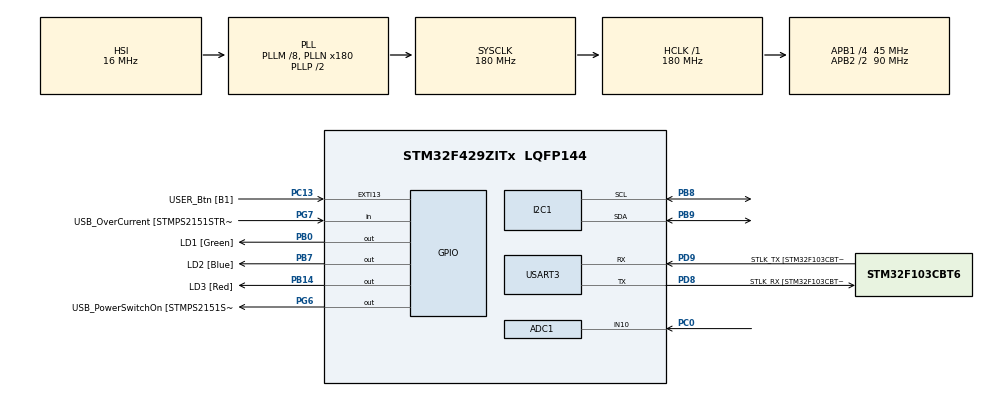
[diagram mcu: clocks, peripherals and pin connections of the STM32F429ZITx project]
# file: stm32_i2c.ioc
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ADC1.Channel-0\#ChannelRegularConversion=ADC_CHANNEL_10
ADC1.NbrOfConversionFlag=1
ADC1.Rank-0\#ChannelRegularConversion=1
ADC1.SamplingTime-0\#ChannelRegularConversion=ADC_SAMPLETIME_3CYCLES
ADC1.master=1
Mcu.Family=STM32F4
Mcu.Name=STM32F429ZITx
Mcu.Package=LQFP144
NVIC.ADC_IRQn=true\:0\:0\:false\:true\:true\:2\:true\:true\:true
NVIC.EXTI15_10_IRQn=true\:0\:0\:false\:true\:true\:3\:true\:true\:true
NVIC.PriorityGroup=NVIC_PRIORITYGROUP_4
NVIC.USART3_IRQn=true\:0\:0\:false\:true\:true\:1\:true\:true\:true
PA1.GPIO_Label=RMII_REF_CLK [LAN8742A-CZ-TR_REFCLK0]
PA1.Signal=ETH_REF_CLK
PA10.GPIO_Label=USB_ID
PA10.Signal=USB_OTG_FS_ID
PA11.GPIO_Label=USB_DM
PA11.Signal=USB_OTG_FS_DM
PA12.GPIO_Label=USB_DP
PA12.Signal=USB_OTG_FS_DP
PA13.GPIO_Label=TMS
PA13.Mode=Serial_Wire
PA13.Signal=SYS_JTMS-SWDIO
PA14.GPIO_Label=TCK
PA14.Mode=Serial_Wire
PA14.Signal=SYS_JTCK-SWCLK
PA2.GPIO_Label=RMII_MDIO [LAN8742A-CZ-TR_MDIO]
PA2.Signal=ETH_MDIO
PA7.GPIO_Label=RMII_CRS_DV [LAN8742A-CZ-TR_CRS_DV]
PA7.Signal=ETH_CRS_DV
PA8.GPIO_Label=USB_SOF [TP1]
PA8.Signal=USB_OTG_FS_SOF
PA9.GPIO_Label=USB_VBUS
PA9.Signal=USB_OTG_FS_VBUS
PB0.GPIO_Label=LD1 [Green]
PB0.Signal=GPIO_Output
PB13.GPIO_Label=RMII_TXD1 [LAN8742A-CZ-TR_TXD1]
PB13.Signal=ETH_TXD1
PB14.GPIO_Label=LD3 [Red]
PB14.Signal=GPIO_Output
PB7.GPIO_Label=LD2 [Blue]
PB7.Signal=GPIO_Output
PB8.Mode=I2C
PB8.Signal=I2C1_SCL
PB9.Mode=I2C
PB9.Signal=I2C1_SDA
PC0.Signal=ADCx_IN10
PC1.GPIO_Label=RMII_MDC [LAN8742A-CZ-TR_MDC]
PC1.Signal=ETH_MDC
PC13.GPIO_Label=USER_Btn [B1]
PC13.Signal=GPXTI13
PC14/OSC32_IN.Mode=LSE-External-Oscillator
PC14/OSC32_IN.Signal=RCC_OSC32_IN
PC15/OSC32_OUT.Mode=LSE-External-Oscillator
PC15/OSC32_OUT.Signal=RCC_OSC32_OUT
PC4.GPIO_Label=RMII_RXD0 [LAN8742A-CZ-TR_RXD0]
PC4.Signal=ETH_RXD0
PC5.GPIO_Label=RMII_RXD1 [LAN8742A-CZ-TR_RXD1]
PC5.Signal=ETH_RXD1
PD8.GPIO_Label=STLK_RX [STM32F103CBT6_PA3]
PD8.Mode=Asynchronous
PD8.Signal=USART3_TX
PD9.GPIO_Label=STLK_TX [STM32F103CBT6_PA2]
PD9.Mode=Asynchronous
PD9.Signal=USART3_RX
PG11.GPIO_Label=RMII_TX_EN [LAN8742A-CZ-TR_TXEN]
PG11.Signal=ETH_TX_EN
PG13.GPIO_Label=RMII_TXD0 [LAN8742A-CZ-TR_TXD0]
PG13.Signal=ETH_TXD0
PG6.GPIO_Label=USB_PowerSwitchOn [STMPS2151STR_EN]
PG6.Signal=GPIO_Output
PG7.GPIO_Label=USB_OverCurrent [STMPS2151STR_FAULT]
PG7.Signal=GPIO_Input
PH0/OSC_IN.GPIO_Label=MCO [STM32F103CBT6_PA8]
PH0/OSC_IN.Signal=RCC_OSC_IN
ProjectManager.HeapSize=0x200
ProjectManager.StackSize=0x400
ProjectManager.TargetToolchain=STM32CubeIDE
RCC.48MHZClocksFreq_Value=51428571.428571425
RCC.AHBFreq_Value=180000000
RCC.APB1CLKDivider=RCC_HCLK_DIV4
RCC.APB1Freq_Value=45000000
RCC.APB1TimFreq_Value=90000000
RCC.APB2CLKDivider=RCC_HCLK_DIV2
RCC.APB2Freq_Value=90000000
RCC.APB2TimCLKDivider=2
RCC.APB2TimFreq_Value=180000000
RCC.CortexFreq_Value=180000000
RCC.HCLKFreq_Value=180000000
RCC.HSE_VALUE=8000000
RCC.HSI_VALUE=16000000
RCC.PLLM=8
RCC.PLLMUL=RCC_PLL_MUL9
RCC.PLLN=180
RCC.PLLQ=7
RCC.PRESCALERUSB=RCC_USBCLKSOURCE_PLL_DIV1_5
RCC.RCC_RTC_Clock_Source=RCC_RTCCLKSOURCE_LSE
RCC.RCC_RTC_Clock_SourceVirtual=RCC_RTCCLKSOURCE_LSE
RCC.SYSCLKFreq_VALUE=180000000
RCC.SYSCLKSource=RCC_SYSCLKSOURCE_PLLCLK
RCC.SYSCLKSourceVirtual=RCC_SYSCLKSOURCE_PLLCLK
RCC.USBFreq_Value=48000000
RCC.VCOOutputFreq_Value=360000000
SH.ADCx_IN10.0=ADC1_IN10,IN10
USART3.VirtualMode=VM_ASYNC
VP_RTC_VS_RTC_Activate.Mode=RTC_Enabled
board=NUCLEO-F429ZI

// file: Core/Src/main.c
/* USER CODE BEGIN Header */
/**
  ******************************************************************************
  * @file           : main.c
  * @brief          : Main program body
  ******************************************************************************
  * @attention
  *
  * <h2><center>&copy; Copyright (c) 2020 STMicroelectronics.
  * All rights reserved.</center></h2>
  *
  * This software component is licensed by ST under BSD 3-Clause license,
  * the "License"; You may not use this file except in compliance with the
  * License. You may obtain a copy of the License at:
  *                        opensource.org/licenses/BSD-3-Clause
  *
  ******************************************************************************
  */
/* USER CODE END Header */

#include "main.h"

/* USER CODE BEGIN Includes */
#include "stdio.h"
#include "string.h"
/* USER CODE END Includes */

ADC_HandleTypeDef hadc1;

I2C_HandleTypeDef hi2c1;

RTC_HandleTypeDef hrtc;

UART_HandleTypeDef huart3;

void SystemClock_Config(void);
static void MX_GPIO_Init(void);
static void MX_USART3_UART_Init(void);
static void MX_I2C1_Init(void);
static void MX_RTC_Init(void);
static void MX_ADC1_Init(void);
static void MX_NVIC_Init(void);

/* USER CODE BEGIN 0 */
extern void I2C_Scan(void);

//void init();

//scanf를 사용하기 위해 _read재정의
int _read(int file, char *ptr, int len)
{
	HAL_UART_Receive(&huart3, (unsigned char*)ptr, len, HAL_MAX_DELAY);
	return len;
}
int __io_getchar(void)
{
	uint8_t ch = 0;
	HAL_UART_Receive(&huart3, (uint8_t *)&ch, 1, HAL_MAX_DELAY);
	return ch;
}
//printf를 사용하기 위해 _write() 함수를 재정의함.
int _write(int file, char *ptr, int len)
{
	HAL_UART_Transmit(&huart3, (uint8_t *)ptr, len, 500); //문자열을 보내는 것. 문자열의 주소를 받아서 문자열의 길이까지 같이 들어옴.

	return len;
}
int __io_putchar(int ch)
{
	HAL_UART_Transmit(&huart3, (uint8_t *)&ch, 1, 1000); //문자 하나를 보내는 것.
	return ch;
}

//버튼 눌림에 따른 상태변환 변수
int userBtnState = 0;
char BtnStringON[30] = "Btn state : ON  ";
char BtnStringOFF[30] = "Btn state : OFF  ";

//UART통신을 이용해 출력할 문자열 버퍼
char inputString;
char receivedData[100]; // 입력된 문자열을 저장할 버퍼
char lcdPrint[100]; //LCD에 출력할 문자열 버퍼
volatile uint8_t receivedIndex = 0; // 버퍼의 인덱스 변수
/* USER CODE END 0 */

int main(void)
{
  /* USER CODE BEGIN 1 */
  HAL_StatusTypeDef res;
  /* USER CODE END 1 */

  /* MCU Configuration--------------------------------------------------------*/

  /* Reset of all peripherals, Initializes the Flash interface and the Systick. */
  HAL_Init();

  /* USER CODE BEGIN Init */
  //인터럽트를 쓰기위해 enable을 해주는 과정
  HAL_UART_Receive_IT(&huart3, (uint8_t *)&inputString, 1);
  /* USER CODE END Init */

  /* Configure the system clock */
  SystemClock_Config();

  /* Initialize all configured peripherals */
  MX_GPIO_Init();
  MX_USART3_UART_Init();
  MX_I2C1_Init();
  MX_RTC_Init();
  MX_ADC1_Init();

  /* Initialize interrupts */
  MX_NVIC_Init();
  /* USER CODE BEGIN 2 */
  init();

  /* USER CODE END 2 */

  /* Infinite loop */
  while (1)
  {

    /* USER CODE BEGIN 3 */
	  //1. ADC 읽고 값을 출력
//	  HAL_ADC_Start_IT(&hadc1);
//	  sprintf(ADCstring, "ADC value : %04d", adc_value); //ADCstring배열에 두번째 인자와 세번째 인자를 합쳐서 넣어주는 함수.
	  //2. GPOI를 읽고 값에따라 on/off로 출력
	  //=> 외부 인터럽트로 상태값에 따라 다르게 출력하도록 함.
	  //최종적으로 LDC에 출력
	  //1-Line - ADC 값 출력
//		// set address to 0x00 첫번째줄 0번부터 글을 쓴다
//		LCD_SendCommand((0x27 << 1), 0b10000000); //0x00
//		LCD_SendString((0x27 << 1), ADCstring);
//
//	  //2-Line - GPIO 값 출력.
//		// set address to 0x40 두번째줄 0번째부터 글을 쓴다.

//		LCD_SendCommand((0x27 << 1), 0b11000000); //0x40
//		if(userBtnState == 1) {
//			LCD_SendString((0x27 << 1), BtnStringON);
//		}
//		else
//		{
//			LCD_SendString((0x27 << 1), BtnStringOFF);
//		}

		//3. UART통신을 통해 입력한 문자열을 LCD에 출력하기
//	  	LCD_SendCommand((0x27 << 1), 0b00000001); //lcd 화면초기화 명령
		LCD_SendCommand((0x27 << 1), 0b10000000); //0x00
		LCD_SendString((0x27 << 1), lcdPrint);

  }
  /* USER CODE END 3 */
}

void SystemClock_Config(void)
{
  RCC_OscInitTypeDef RCC_OscInitStruct = {0};
  RCC_ClkInitTypeDef RCC_ClkInitStruct = {0};
  RCC_PeriphCLKInitTypeDef PeriphClkInitStruct = {0};

  /** Configure the main internal regulator output voltage
  */
  __HAL_RCC_PWR_CLK_ENABLE();
  __HAL_PWR_VOLTAGESCALING_CONFIG(PWR_REGULATOR_VOLTAGE_SCALE1);
  /** Initializes the CPU, AHB and APB busses clocks
  */
  RCC_OscInitStruct.OscillatorType = RCC_OSCILLATORTYPE_HSI|RCC_OSCILLATORTYPE_LSE;
  RCC_OscInitStruct.LSEState = RCC_LSE_ON;
  RCC_OscInitStruct.HSIState = RCC_HSI_ON;
  RCC_OscInitStruct.HSICalibrationValue = RCC_HSICALIBRATION_DEFAULT;
  RCC_OscInitStruct.PLL.PLLState = RCC_PLL_ON;
  RCC_OscInitStruct.PLL.PLLSource = RCC_PLLSOURCE_HSI;
  RCC_OscInitStruct.PLL.PLLM = 8;
  RCC_OscInitStruct.PLL.PLLN = 180;
  RCC_OscInitStruct.PLL.PLLP = RCC_PLLP_DIV2;
  RCC_OscInitStruct.PLL.PLLQ = 7;
  if (HAL_RCC_OscConfig(&RCC_OscInitStruct) != HAL_OK)
  {
    Error_Handler();
  }
  /** Activate the Over-Drive mode
  */
  if (HAL_PWREx_EnableOverDrive() != HAL_OK)
  {
    Error_Handler();
  }
  /** Initializes the CPU, AHB and APB busses clocks
  */
  RCC_ClkInitStruct.ClockType = RCC_CLOCKTYPE_HCLK|RCC_CLOCKTYPE_SYSCLK
                              |RCC_CLOCKTYPE_PCLK1|RCC_CLOCKTYPE_PCLK2;
  RCC_ClkInitStruct.SYSCLKSource = RCC_SYSCLKSOURCE_PLLCLK;
  RCC_ClkInitStruct.AHBCLKDivider = RCC_SYSCLK_DIV1;
  RCC_ClkInitStruct.APB1CLKDivider = RCC_HCLK_DIV4;
  RCC_ClkInitStruct.APB2CLKDivider = RCC_HCLK_DIV2;

  if (HAL_RCC_ClockConfig(&RCC_ClkInitStruct, FLASH_LATENCY_5) != HAL_OK)
  {
    Error_Handler();
  }
  PeriphClkInitStruct.PeriphClockSelection = RCC_PERIPHCLK_RTC;
  PeriphClkInitStruct.RTCClockSelection = RCC_RTCCLKSOURCE_LSE;
  if (HAL_RCCEx_PeriphCLKConfig(&PeriphClkInitStruct) != HAL_OK)
  {
    Error_Handler();
  }
}

/**
  * @brief NVIC Configuration.
  * @retval None
  */
static void MX_NVIC_Init(void)
{
  /* USART3_IRQn interrupt configuration */
  HAL_NVIC_SetPriority(USART3_IRQn, 0, 0);
  HAL_NVIC_EnableIRQ(USART3_IRQn);
  /* ADC_IRQn interrupt configuration */
  HAL_NVIC_SetPriority(ADC_IRQn, 0, 0);
  HAL_NVIC_EnableIRQ(ADC_IRQn);
  /* EXTI15_10_IRQn interrupt configuration */
  HAL_NVIC_SetPriority(EXTI15_10_IRQn, 0, 0);
  HAL_NVIC_EnableIRQ(EXTI15_10_IRQn);
}

static void MX_ADC1_Init(void)
{

  ADC_ChannelConfTypeDef sConfig = {0};

  /** Configure the global features of the ADC (Clock, Resolution, Data Alignment and number of conversion)
  */
  hadc1.Instance = ADC1;
  hadc1.Init.ClockPrescaler = ADC_CLOCK_SYNC_PCLK_DIV4;
  hadc1.Init.Resolution = ADC_RESOLUTION_12B;
  hadc1.Init.ScanConvMode = DISABLE;
  hadc1.Init.ContinuousConvMode = DISABLE;
  hadc1.Init.DiscontinuousConvMode = DISABLE;
  hadc1.Init.ExternalTrigConvEdge = ADC_EXTERNALTRIGCONVEDGE_NONE;
  hadc1.Init.ExternalTrigConv = ADC_SOFTWARE_START;
  hadc1.Init.DataAlign = ADC_DATAALIGN_RIGHT;
  hadc1.Init.NbrOfConversion = 1;
  hadc1.Init.DMAContinuousRequests = DISABLE;
  hadc1.Init.EOCSelection = ADC_EOC_SINGLE_CONV;
  if (HAL_ADC_Init(&hadc1) != HAL_OK)
  {
    Error_Handler();
  }
  /** Configure for the selected ADC regular channel its corresponding rank in the sequencer and its sample time.
  */
  sConfig.Channel = ADC_CHANNEL_10;
  sConfig.Rank = 1;
  sConfig.SamplingTime = ADC_SAMPLETIME_3CYCLES;
  if (HAL_ADC_ConfigChannel(&hadc1, &sConfig) != HAL_OK)
  {
    Error_Handler();
  }

}

static void MX_I2C1_Init(void)
{

  hi2c1.Instance = I2C1;
  hi2c1.Init.ClockSpeed = 100000;
  hi2c1.Init.DutyCycle = I2C_DUTYCYCLE_2;
  hi2c1.Init.OwnAddress1 = 0;
  hi2c1.Init.AddressingMode = I2C_ADDRESSINGMODE_7BIT;
  hi2c1.Init.DualAddressMode = I2C_DUALADDRESS_DISABLE;
  hi2c1.Init.OwnAddress2 = 0;
  hi2c1.Init.GeneralCallMode = I2C_GENERALCALL_DISABLE;
  hi2c1.Init.NoStretchMode = I2C_NOSTRETCH_DISABLE;
  if (HAL_I2C_Init(&hi2c1) != HAL_OK)
  {
    Error_Handler();
  }
  /** Configure Analogue filter
  */
  if (HAL_I2CEx_ConfigAnalogFilter(&hi2c1, I2C_ANALOGFILTER_ENABLE) != HAL_OK)
  {
    Error_Handler();
  }
  /** Configure Digital filter
  */
  if (HAL_I2CEx_ConfigDigitalFilter(&hi2c1, 0) != HAL_OK)
  {
    Error_Handler();
  }

}

static void MX_RTC_Init(void)
{

  /** Initialize RTC Only
  */
  hrtc.Instance = RTC;
  hrtc.Init.HourFormat = RTC_HOURFORMAT_24;
  hrtc.Init.AsynchPrediv = 127;
  hrtc.Init.SynchPrediv = 255;
  hrtc.Init.OutPut = RTC_OUTPUT_DISABLE;
  hrtc.Init.OutPutPolarity = RTC_OUTPUT_POLARITY_HIGH;
  hrtc.Init.OutPutType = RTC_OUTPUT_TYPE_OPENDRAIN;
  if (HAL_RTC_Init(&hrtc) != HAL_OK)
  {
    Error_Handler();
  }

}

static void MX_USART3_UART_Init(void)
{

  huart3.Instance = USART3;
  huart3.Init.BaudRate = 115200;
  huart3.Init.WordLength = UART_WORDLENGTH_8B;
  huart3.Init.StopBits = UART_STOPBITS_1;
  huart3.Init.Parity = UART_PARITY_NONE;
  huart3.Init.Mode = UART_MODE_TX_RX; //송수신 모드
  huart3.Init.HwFlowCtl = UART_HWCONTROL_NONE;
  huart3.Init.OverSampling = UART_OVERSAMPLING_16;
  if (HAL_UART_Init(&huart3) != HAL_OK)
  {
    Error_Handler();
  }
  /* USER CODE BEGIN USART3_Init 2 */
  //수신 인터럽트 활성화
  HAL_UART_Receive_IT(&huart3, (uint8_t *)&inputString, 1);

  /* USER CODE END USART3_Init 2 */

}

static void MX_GPIO_Init(void)
{
  GPIO_InitTypeDef GPIO_InitStruct = {0};

  /* GPIO Ports Clock Enable */
  __HAL_RCC_GPIOC_CLK_ENABLE();
  __HAL_RCC_GPIOH_CLK_ENABLE();
  __HAL_RCC_GPIOA_CLK_ENABLE();
  __HAL_RCC_GPIOB_CLK_ENABLE();
  __HAL_RCC_GPIOD_CLK_ENABLE();
  __HAL_RCC_GPIOG_CLK_ENABLE();

  /*Configure GPIO pin Output Level */
  HAL_GPIO_WritePin(GPIOB, LD1_Pin|LD3_Pin|LD2_Pin, GPIO_PIN_RESET);

  /*Configure GPIO pin Output Level */
  HAL_GPIO_WritePin(USB_PowerSwitchOn_GPIO_Port, USB_PowerSwitchOn_Pin, GPIO_PIN_RESET);

  /*Configure GPIO pin : USER_Btn_Pin */
  GPIO_InitStruct.Pin = USER_Btn_Pin;
  GPIO_InitStruct.Mode = GPIO_MODE_IT_RISING;
  GPIO_InitStruct.Pull = GPIO_NOPULL;
  HAL_GPIO_Init(USER_Btn_GPIO_Port, &GPIO_InitStruct);

  /*Configure GPIO pins : RMII_MDC_Pin RMII_RXD0_Pin RMII_RXD1_Pin */
  GPIO_InitStruct.Pin = RMII_MDC_Pin|RMII_RXD0_Pin|RMII_RXD1_Pin;
  GPIO_InitStruct.Mode = GPIO_MODE_AF_PP;
  GPIO_InitStruct.Pull = GPIO_NOPULL;
  GPIO_InitStruct.Speed = GPIO_SPEED_FREQ_VERY_HIGH;
  GPIO_InitStruct.Alternate = GPIO_AF11_ETH;
  HAL_GPIO_Init(GPIOC, &GPIO_InitStruct);

  /*Configure GPIO pins : RMII_REF_CLK_Pin RMII_MDIO_Pin RMII_CRS_DV_Pin */
  GPIO_InitStruct.Pin = RMII_REF_CLK_Pin|RMII_MDIO_Pin|RMII_CRS_DV_Pin;
  GPIO_InitStruct.Mode = GPIO_MODE_AF_PP;
  GPIO_InitStruct.Pull = GPIO_NOPULL;
  GPIO_InitStruct.Speed = GPIO_SPEED_FREQ_VERY_HIGH;
  GPIO_InitStruct.Alternate = GPIO_AF11_ETH;
  HAL_GPIO_Init(GPIOA, &GPIO_InitStruct);

  /*Configure GPIO pins : LD1_Pin LD3_Pin LD2_Pin */
  GPIO_InitStruct.Pin = LD1_Pin|LD3_Pin|LD2_Pin;
  GPIO_InitStruct.Mode = GPIO_MODE_OUTPUT_PP;
  GPIO_InitStruct.Pull = GPIO_NOPULL;
  GPIO_InitStruct.Speed = GPIO_SPEED_FREQ_LOW;
  HAL_GPIO_Init(GPIOB, &GPIO_InitStruct);

  /*Configure GPIO pin : RMII_TXD1_Pin */
  GPIO_InitStruct.Pin = RMII_TXD1_Pin;
  GPIO_InitStruct.Mode = GPIO_MODE_AF_PP;
  GPIO_InitStruct.Pull = GPIO_NOPULL;
  GPIO_InitStruct.Speed = GPIO_SPEED_FREQ_VERY_HIGH;
  GPIO_InitStruct.Alternate = GPIO_AF11_ETH;
  HAL_GPIO_Init(RMII_TXD1_GPIO_Port, &GPIO_InitStruct);

  /*Configure GPIO pin : USB_PowerSwitchOn_Pin */
  GPIO_InitStruct.Pin = USB_PowerSwitchOn_Pin;
  GPIO_InitStruct.Mode = GPIO_MODE_OUTPUT_PP;
  GPIO_InitStruct.Pull = GPIO_NOPULL;
  GPIO_InitStruct.Speed = GPIO_SPEED_FREQ_LOW;
  HAL_GPIO_Init(USB_PowerSwitchOn_GPIO_Port, &GPIO_InitStruct);

  /*Configure GPIO pin : USB_OverCurrent_Pin */
  GPIO_InitStruct.Pin = USB_OverCurrent_Pin;
  GPIO_InitStruct.Mode = GPIO_MODE_INPUT;
  GPIO_InitStruct.Pull = GPIO_NOPULL;
  HAL_GPIO_Init(USB_OverCurrent_GPIO_Port, &GPIO_InitStruct);

  /*Configure GPIO pins : USB_SOF_Pin USB_ID_Pin USB_DM_Pin USB_DP_Pin */
  GPIO_InitStruct.Pin = USB_SOF_Pin|USB_ID_Pin|USB_DM_Pin|USB_DP_Pin;
  GPIO_InitStruct.Mode = GPIO_MODE_AF_PP;
  GPIO_InitStruct.Pull = GPIO_NOPULL;
  GPIO_InitStruct.Speed = GPIO_SPEED_FREQ_VERY_HIGH;
  GPIO_InitStruct.Alternate = GPIO_AF10_OTG_FS;
  HAL_GPIO_Init(GPIOA, &GPIO_InitStruct);

  /*Configure GPIO pin : USB_VBUS_Pin */
  GPIO_InitStruct.Pin = USB_VBUS_Pin;
  GPIO_InitStruct.Mode = GPIO_MODE_INPUT;
  GPIO_InitStruct.Pull = GPIO_NOPULL;
  HAL_GPIO_Init(USB_VBUS_GPIO_Port, &GPIO_InitStruct);

  /*Configure GPIO pins : RMII_TX_EN_Pin RMII_TXD0_Pin */
  GPIO_InitStruct.Pin = RMII_TX_EN_Pin|RMII_TXD0_Pin;
  GPIO_InitStruct.Mode = GPIO_MODE_AF_PP;
  GPIO_InitStruct.Pull = GPIO_NOPULL;
  GPIO_InitStruct.Speed = GPIO_SPEED_FREQ_VERY_HIGH;
  GPIO_InitStruct.Alternate = GPIO_AF11_ETH;
  HAL_GPIO_Init(GPIOG, &GPIO_InitStruct);

}

/* USER CODE BEGIN 4 */
//USER Btn PC13에서 interrupt가 발생하면 실행되는 콜백함수
void HAL_GPIO_EXTI_Callback(uint16_t GPIO_Pin)
{
	//버튼을 누르면 상태값을 변경함.
	if(GPIO_Pin == GPIO_PIN_13)
	{
		if(userBtnState == 0) userBtnState = 1;
		else userBtnState = 0;

	}
}

//uart 통신으로 키보드 입력받은 값을 LCD에 출력하기
void HAL_UART_RxCpltCallback(UART_HandleTypeDef *huart)
{
	if(huart -> Instance == USART3)
	{
//		printf("UART콜백 호출");
		//문자가 입력되면 interrupt되고 1바이트 문자를 inputString으로 저장
		HAL_UART_Receive_IT(&huart3, (uint8_t *)&inputString, 1);
		if (inputString == '\r') //입력된 문자가 엔터이면
		{
			//그 인덱스에 NULL을 저장하여 문자열의 끝을 알려주고
			receivedData[receivedIndex] = '\0';
			strcpy(lcdPrint, receivedData);

			//인덱스를 초기화
			receivedIndex = 0;

//			LCD_SendCommand((0x27 << 1), 0b00000001); //lcd 화면초기화 명령
			//콘솔에 출력
			printf(receivedData);
		}
		else
		{
			//해당 인덱스에 입력받은 문자를 저장하고 인덱스 증가
			receivedData[receivedIndex++] = inputString;
		}

		HAL_UART_Transmit(&huart3, (uint8_t *)&inputString, 1, 500);
	}

}
/* USER CODE END 4 */

void Error_Handler(void)
{
}

/************************ (C) COPYRIGHT STMicroelectronics *****END OF FILE****/
